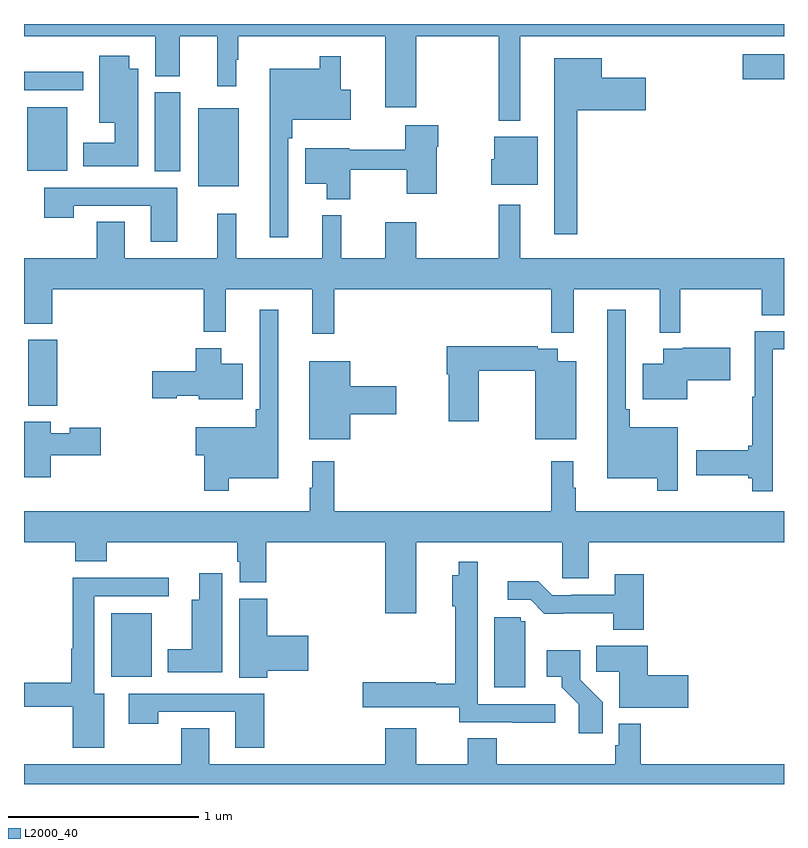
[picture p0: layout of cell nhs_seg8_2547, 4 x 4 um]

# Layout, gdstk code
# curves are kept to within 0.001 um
import gdstk
lib = gdstk.Library(unit=1e-6, precision=1e-09)
def R(c, l, rs):  # rectangles x0, y0, x1, y1
    for r in rs: c.add(gdstk.rectangle(r[:2], r[2:], *l))
def P(c, l, *ps):  # polygons
    for p in ps: c.add(gdstk.Polygon(p, *l))
L2000_40 = (2000, 40)

nhs_seg8_2547 = lib.new_cell('nhs_seg8_2547')
R(nhs_seg8_2547, L2000_40, [(271.46,1110.464,271.672,1110.799), (271.022,1111.891,271.175,1112.238), (271.916,1113.047,272.131,1113.457), (271.688,1113.124,271.822,1113.54), (271.016,1113.128,271.228,1113.463), (271,1113.552,271.312,1113.65), (274.782,1113.608,275,1113.742)])
P(nhs_seg8_2547, L2000_40, [(271,1113.836),(271.691,1113.836),(271.691,1113.625),(271.819,1113.625),(271.819,1113.836),(272.018,1113.836),(272.018,1113.573),(272.116,1113.573),(272.116,1113.713),(272.128,1113.713),(272.128,1113.836),(272.9,1113.836),(272.9,1113.462),(273.064,1113.462),(273.064,1113.836),(273.499,1113.836),(273.499,1113.392),(273.613,1113.392),(273.613,1113.836),(275,1113.836),(275,1113.9),(271,1113.9)],
  [(271.6,1113.664),(271.555,1113.664),(271.555,1113.733),(271.397,1113.733),(271.397,1113.38),(271.478,1113.38),(271.478,1113.274),(271.313,1113.274),(271.313,1113.152),(271.6,1113.152)],
  [(272.391,1113.299),(272.411,1113.299),(272.411,1113.395),(272.719,1113.395),(272.719,1113.553),(272.667,1113.553),(272.667,1113.73),(272.556,1113.73),(272.556,1113.664),(272.294,1113.664),(272.294,1112.778),(272.391,1112.778)],
  [(273.913,1113.446),(274.273,1113.446),(274.273,1113.616),(274.042,1113.616),(274.042,1113.721),(273.791,1113.721),(273.791,1112.793),(273.913,1112.793)],
  [(272.716,1113.133),(273.014,1113.133),(273.014,1113.006),(273.172,1113.006),(273.172,1113.254),(273.18,1113.254),(273.18,1113.367),(273.007,1113.367),(273.007,1113.237),(272.712,1113.237),(272.712,1113.247),(272.48,1113.247),(272.48,1113.059),(272.594,1113.059),(272.594,1112.978),(272.716,1112.978)],
  [(273.703,1113.307),(273.476,1113.307),(273.476,1113.189),(273.458,1113.189),(273.458,1113.053),(273.703,1113.053)],
  [(271.807,1113.039),(271.107,1113.039),(271.107,1112.88),(271.263,1112.88),(271.263,1112.943),(271.667,1112.943),(271.667,1112.754),(271.807,1112.754)],
  [(272.633,1112.504),(273.775,1112.504),(273.775,1112.275),(273.893,1112.275),(273.893,1112.504),(274.346,1112.504),(274.346,1112.276),(274.453,1112.276),(274.453,1112.504),(274.882,1112.504),(274.882,1112.368),(275,1112.368),(275,1112.668),(273.613,1112.668),(273.613,1112.95),(273.499,1112.95),(273.499,1112.668),(273.064,1112.668),(273.064,1112.857),(272.9,1112.857),(272.9,1112.668),(272.67,1112.668),(272.67,1112.893),(272.57,1112.893),(272.57,1112.668),(272.117,1112.668),(272.117,1112.902),(272.018,1112.902),(272.018,1112.668),(271.531,1112.668),(271.531,1112.858),(271.384,1112.858),(271.384,1112.668),(271,1112.668),(271,1112.323),(271.148,1112.323),(271.148,1112.504),(271.945,1112.504),(271.945,1112.279),(272.063,1112.279),(272.063,1112.504),(272.516,1112.504),(272.516,1112.271),(272.633,1112.271)],
  [(274.44,1111.777),(274.187,1111.777),(274.187,1111.873),(274.167,1111.873),(274.167,1112.395),(274.07,1112.395),(274.07,1111.508),(274.332,1111.508),(274.332,1111.443),(274.44,1111.443)],
  [(272.077,1111.508),(272.338,1111.508),(272.338,1112.395),(272.241,1112.395),(272.241,1111.873),(272.221,1111.873),(272.221,1111.777),(271.904,1111.777),(271.904,1111.63),(271.948,1111.63),(271.948,1111.443),(272.077,1111.443)],
  [(274.942,1111.662),(274.941,1111.662),(274.941,1112.187),(275,1112.187),(275,1112.283),(274.845,1112.283),(274.845,1111.937),(274.833,1111.937),(274.833,1111.679),(274.812,1111.679),(274.812,1111.656),(274.539,1111.656),(274.539,1111.526),(274.812,1111.526),(274.812,1111.508),(274.833,1111.508),(274.833,1111.44),(274.942,1111.44)],
  [(273.907,1112.125),(273.808,1112.125),(273.808,1112.19),(273.704,1112.19),(273.704,1112.203),(273.224,1112.203),(273.224,1112.057),(273.236,1112.057),(273.236,1111.809),(273.394,1111.809),(273.394,1112.074),(273.692,1112.074),(273.692,1111.715),(273.907,1111.715)],
  [(274.492,1112.026),(274.717,1112.026),(274.717,1112.196),(274.468,1112.196),(274.468,1112.191),(274.364,1112.191),(274.364,1112.113),(274.256,1112.113),(274.256,1111.925),(274.492,1111.925)],
  [(272.152,1112.113),(272.038,1112.113),(272.038,1112.194),(271.904,1112.194),(271.904,1112.073),(271.674,1112.073),(271.674,1111.931),(271.803,1111.931),(271.803,1111.943),(271.92,1111.943),(271.92,1111.925),(272.152,1111.925)],
  [(272.716,1111.847),(272.959,1111.847),(272.959,1111.994),(272.716,1111.994),(272.716,1112.125),(272.501,1112.125),(272.501,1111.715),(272.716,1111.715)],
  [(271.141,1111.63),(271.405,1111.63),(271.405,1111.774),(271.242,1111.774),(271.242,1111.747),(271.141,1111.747),(271.141,1111.806),(271,1111.806),(271,1111.698),(271.001,1111.698),(271.001,1111.515),(271.141,1111.515)],
  [(273.064,1111.172),(273.834,1111.172),(273.834,1110.982),(273.973,1110.982),(273.973,1111.172),(275,1111.172),(275,1111.336),(273.904,1111.336),(273.904,1111.46),(273.892,1111.46),(273.892,1111.6),(273.775,1111.6),(273.775,1111.336),(272.633,1111.336),(272.633,1111.6),(272.516,1111.6),(272.516,1111.46),(272.505,1111.46),(272.505,1111.336),(271,1111.336),(271,1111.172),(271.271,1111.172),(271.271,1111.073),(271.436,1111.073),(271.436,1111.172),(272.123,1111.172),(272.123,1111.071),(272.135,1111.071),(272.135,1110.961),(272.276,1110.961),(272.276,1111.172),(272.9,1111.172),(272.9,1110.798),(273.064,1110.798)],
  [(273.796,1110.321),(273.387,1110.321),(273.387,1110.846),(273.388,1110.846),(273.388,1111.069),(273.289,1111.069),(273.289,1111),(273.254,1111),(273.254,1110.835),(273.271,1110.835),(273.271,1110.427),(273.168,1110.427),(273.168,1110.435),(272.784,1110.435),(272.784,1110.305),(273.291,1110.305),(273.291,1110.225),(273.571,1110.225),(273.571,1110.223),(273.796,1110.223)],
  [(272.044,1111.009),(271.922,1111.009),(271.922,1110.871),(271.883,1110.871),(271.883,1110.61),(271.757,1110.61),(271.757,1110.488),(272.044,1110.488)],
  [(274.262,1111.003),(274.109,1111.003),(274.109,1110.897),(273.88,1110.897),(273.88,1110.894),(273.78,1110.894),(273.707,1110.967),(273.546,1110.967),(273.546,1110.87),(273.666,1110.87),(273.739,1110.797),(274.102,1110.798),(274.102,1110.713),(274.262,1110.713)],
  [(271.423,1110.376),(271.369,1110.376),(271.369,1110.888),(271.762,1110.888),(271.762,1110.986),(271.256,1110.986),(271.256,1110.611),(271.249,1110.611),(271.249,1110.434),(271,1110.434),(271,1110.306),(271.256,1110.306),(271.256,1110.09),(271.423,1110.09)],
  [(272.279,1110.497),(272.497,1110.497),(272.497,1110.68),(272.279,1110.68),(272.279,1110.876),(272.132,1110.876),(272.132,1110.46),(272.279,1110.46)],
  [(273.637,1110.756),(273.615,1110.756),(273.615,1110.777),(273.476,1110.777),(273.476,1110.408),(273.637,1110.408)],
  [(274.495,1110.473),(274.283,1110.473),(274.283,1110.628),(274.012,1110.628),(274.012,1110.49),(274.133,1110.49),(274.133,1110.302),(274.495,1110.302)],
  [(274.046,1110.33),(273.927,1110.449),(273.927,1110.604),(273.75,1110.604),(273.75,1110.464),(273.83,1110.464),(273.83,1110.409),(273.921,1110.319),(273.921,1110.168),(274.046,1110.168)],
  [(272.264,1110.375),(271.551,1110.375),(271.551,1110.216),(271.707,1110.216),(271.707,1110.279),(272.111,1110.279),(272.111,1110.09),(272.264,1110.09)],
  [(275,1110.004),(274.247,1110.004),(274.247,1110.217),(274.131,1110.217),(274.131,1110.105),(274.111,1110.105),(274.111,1110.004),(273.488,1110.004),(273.488,1110.14),(273.335,1110.14),(273.335,1110.004),(273.064,1110.004),(273.064,1110.193),(272.9,1110.193),(272.9,1110.004),(271.975,1110.004),(271.975,1110.194),(271.828,1110.194),(271.828,1110.004),(271,1110.004),(271,1109.9),(275,1109.9)])

lib.write_gds('nhs_seg8_2547.gds')
